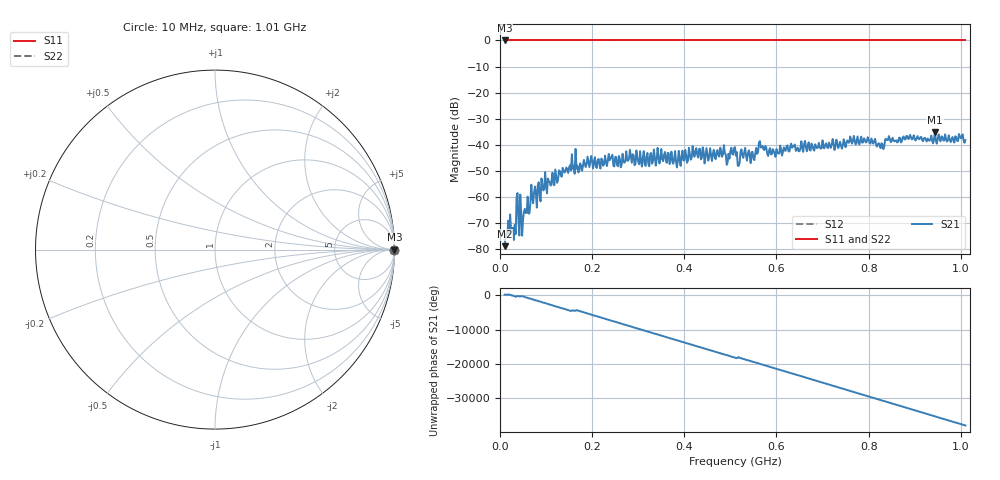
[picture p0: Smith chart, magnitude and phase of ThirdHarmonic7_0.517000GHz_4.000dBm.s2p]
! 8/17/2025 3:09:04 PM
! C:\ANRITSUVNA\TEMP\TEMP.S2P
! CHANNEL.1
! TR.MEASUREMENT
! RAW.DATA
! RF.CORRECTION.OFF
! AVERAGING.OFF
! IF.BANDWIDTH: 5KHZ
! SWEEPTYPE:  FREQ.SWEEP(Linear)
! Reference Plane Port Info
! PORT:  PORT1  PORT2
! DISTANCE:  0  m  0  m
! TIME:  0  s  0  s
! PHASE.OFFSET:  0  deg.  0  deg.
! LOSS:  0  dB  0  dB
! REF.LOSS:  0  dB  0  dB
! REF.FREQ:  0  Hz  0  Hz
! Power Info
! POWER:  -20  dBm  -20  dBm
! EFF.POWER:  -20  dBm  -20  dBm
! SOURCE.ATTEN:  0  dB  0  dB
! TEST.ATTEN:  0  dB  0  dB
# GHZ S RI R 50.0
! FREQ.GHZ  S11RE  S11IM  S21RE  S21IM  S12RE  S12IM  S22RE  S22IM
!; PortSelection: Port_12
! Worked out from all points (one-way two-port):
!   501 points, 10 MHz to 1.01 GHz, reference 50 ohm
!   highest |S21| = -35.30 dB at 944 MHz (marker M1); lowest = -78.9 dB at 10 MHz (marker M2)
!   lowest |S11| = 0.0 dB at 10 MHz (marker M3)
!   |S11| at or under -10 dB: nowhere
!   |S22| runs from 0.0 to 0.0 dB; largest |S21 - S12| = 1
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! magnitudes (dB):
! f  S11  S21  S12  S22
! 10 MHz  0.0  -78.9  0.0  0.0
! 18 MHz  0.0  -69.1  0.0  0.0
! 30 MHz  0.0  -76.6  0.0  0.0
! 40 MHz  0.0  -69.1  0.0  0.0
! 44 MHz  0.0  -59.1  0.0  0.0
! 52 MHz  0.0  -65.6  0.0  0.0
! 72 MHz  0.0  -62.5  0.0  0.0
! 160 MHz  0.0  -48.2  0.0  0.0
! 178 MHz  0.0  -50.0  0.0  0.0
! 344 MHz  0.0  -44.5  0.0  0.0
! 482 MHz  0.0  -44.6  0.0  0.0
! 494 MHz  0.0  -46.7  0.0  0.0
! 510 MHz  0.0  -40.9  0.0  0.0
! 516 MHz  0.0  -48.1  0.0  0.0
! 528 MHz  0.0  -45.0  0.0  0.0
! 548 MHz  0.0  -42.7  0.0  0.0
! 566 MHz  0.0  -41.1  0.0  0.0
! 600 MHz  0.0  -41.7  0.0  0.0
! 678 MHz  0.0  -40.3  0.0  0.0
! 844 MHz  0.0  -36.7  0.0  0.0
! 944 MHz  0.0  -35.3  0.0  0.0
! 1.01 GHz  0.0  -38.2  0.0  0.0
